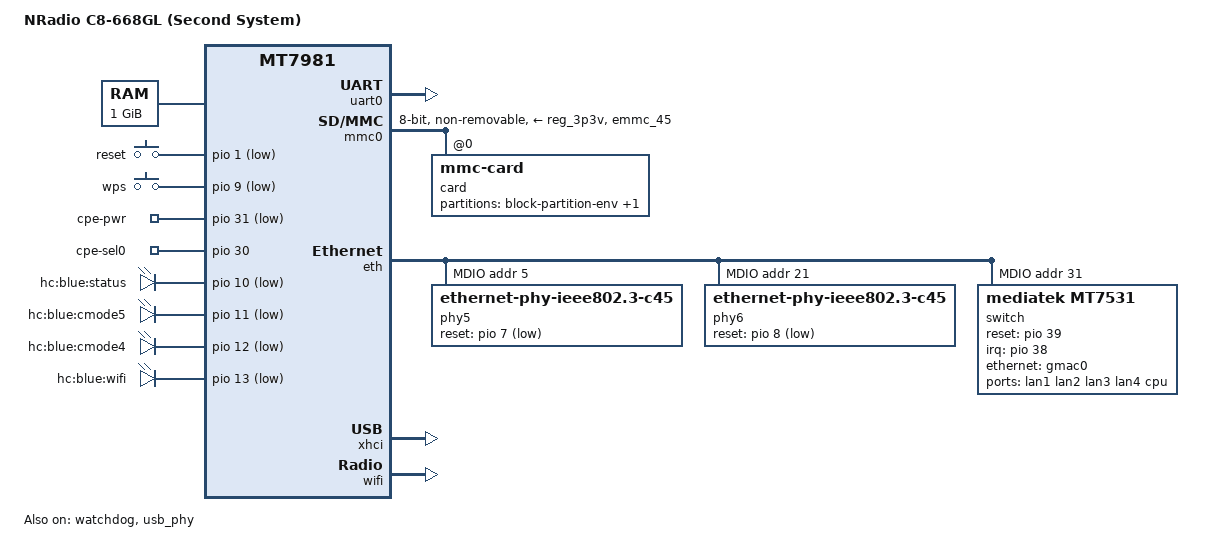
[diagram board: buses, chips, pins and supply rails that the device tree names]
// SPDX-License-Identifier: GPL-2.0-or-later OR MIT

/dts-v1/;

#include "mt7981.dtsi"

/ {
	model = "NRadio C8-668GL (Second System)";
	compatible = "nradio,c8-668gl-second-system", "mediatek,mt7981-emmc-rfb";

	aliases {
		ethernet0 = &gmac0;
		led-boot = &led_status;
		led-failsafe = &led_status;
		led-running = &led_status;
		led-upgrade = &led_status;
		serial0 = &uart0;
	};

	chosen {
		stdout-path = "serial0:115200n1";
		bootargs = "console=ttyS0,115200n1 root=PARTLABEL=rootfs_2nd rootwait";
	};

	memory {
		reg = <0 0x40000000 0 0x40000000>;
	};

	gpio-keys {
		compatible = "gpio-keys";

		reset {
			label = "reset";
			linux,code = <KEY_RESTART>;
			gpios = <&pio 1 GPIO_ACTIVE_LOW>;
		};

		wps {
			label = "wps";
			linux,code = <KEY_WPS_BUTTON>;
			gpios = <&pio 9 GPIO_ACTIVE_LOW>;
		};
	};

	gpio_export {
		compatible = "gpio-export";
		#size-cells = <0>;

		cpepower {
			gpio-export,name = "cpe-pwr";
			gpio-export,output = <0>;
			gpios = <&pio 31 GPIO_ACTIVE_LOW>;
		};

		cpesel0 {
			gpio-export,name = "cpe-sel0";
			gpio-export,output = <1>;
			gpios = <&pio 30 GPIO_ACTIVE_HIGH>;
		};
	};

	leds {
		compatible = "gpio-leds";

		led_status: status {
			label = "hc:blue:status";
			gpios = <&pio 10 GPIO_ACTIVE_LOW>;
		};

		cmode5 {
			label = "hc:blue:cmode5";
			gpios = <&pio 11 GPIO_ACTIVE_LOW>;
		};

		cmode4 {
			label = "hc:blue:cmode4";
			gpios = <&pio 12 GPIO_ACTIVE_LOW>;
		};

		wifi {
			label = "hc:blue:wifi";
			gpios = <&pio 13 GPIO_ACTIVE_LOW>;
		};
	};
};

&uart0 {
	status = "okay";
};

&watchdog {
	status = "okay";
};

&mmc0 {
	pinctrl-names = "default", "state_uhs";
	pinctrl-0 = <&mmc0_pins_default>;
	pinctrl-1 = <&mmc0_pins_uhs>;
	bus-width = <8>;
	max-frequency = <52000000>;
	cap-mmc-highspeed;
	vmmc-supply = <&reg_3p3v>;
	non-removable;
	status = "okay";

	card@0 {
		compatible = "mmc-card";
		reg = <0>;

		block {
			compatible = "block-device";
			partitions {
				block-partition-env {
					partname = "u-boot-env";

					nvmem-layout {
						compatible = "u-boot,env";
					};
				};

				block-partition-factory {
					partname = "factory";

					nvmem-layout {
						compatible = "fixed-layout";
						#address-cells = <1>;
						#size-cells = <1>;

						eeprom_factory_0: eeprom@0 {
							reg = <0x0 0x1000>;
						};
					};
				};
			};
		};
	};
};

&pio {
	mmc0_pins_default: mmc0-pins-default {
		mux {
			function = "flash";
			groups = "emmc_45";
		};
	};

	mmc0_pins_uhs: mmc0-pins-uhs {
		mux {
			function = "flash";
			groups = "emmc_45";
		};
	};
};

&eth {
	status = "okay";

	gmac0: mac@0 {
		compatible = "mediatek,eth-mac";
		reg = <0>;
		phy-mode = "2500base-x";

		fixed-link {
			speed = <2500>;
			full-duplex;
			pause;
		};
	};

	gmac1: mac@1 {
		/* WAN */
		status = "disabled";
		compatible = "mediatek,eth-mac";
		reg = <1>;
		phy-mode = "2500base-x";
		phy-handle = <&phy6>;
	};

	mdio: mdio-bus {
		#address-cells = <1>;
		#size-cells = <0>;

		phy5: ethernet-phy@5 {
			compatible = "ethernet-phy-ieee802.3-c45";
			reg = <5>;
			reset-gpios = <&pio 7 GPIO_ACTIVE_LOW>;
			reset-assert-us = <600>;
			reset-deassert-us = <20000>;
		};

		phy6: ethernet-phy@6 {
			compatible = "ethernet-phy-ieee802.3-c45";
			reg = <21>;
			reset-gpios = <&pio 8 GPIO_ACTIVE_LOW>;
			reset-assert-us = <600>;
			reset-deassert-us = <20000>;
		};

		switch@1f {
			compatible = "mediatek,mt7531";
			reg = <31>;
			reset-gpios = <&pio 39 GPIO_ACTIVE_HIGH>;
			interrupt-controller;
			#interrupt-cells = <1>;
			interrupt-parent = <&pio>;
			interrupts = <38 IRQ_TYPE_LEVEL_HIGH>;

			ports {
				#address-cells = <1>;
				#size-cells = <0>;

				port@1 {
					reg = <1>;
					label = "lan1";
				};

				port@2 {
					reg = <2>;
					label = "lan2";
				};

				port@3 {
					reg = <3>;
					label = "lan3";
				};

				port@5 {
					reg = <5>;
					label = "lan4";
					phy-mode = "2500base-x";
					phy-handle = <&phy5>;
				};

				port@6 {
					reg = <6>;
					label = "cpu";
					ethernet = <&gmac0>;
					phy-mode = "2500base-x";

					fixed-link {
						speed = <2500>;
						full-duplex;
						pause;
					};
				};
			};
		};
	};
};

&usb_phy {
	status = "okay";
};

&xhci {
	status = "okay";
};

&wifi {
	nvmem-cells = <&eeprom_factory_0>;
	nvmem-cell-names = "eeprom";
	status = "okay";
};
